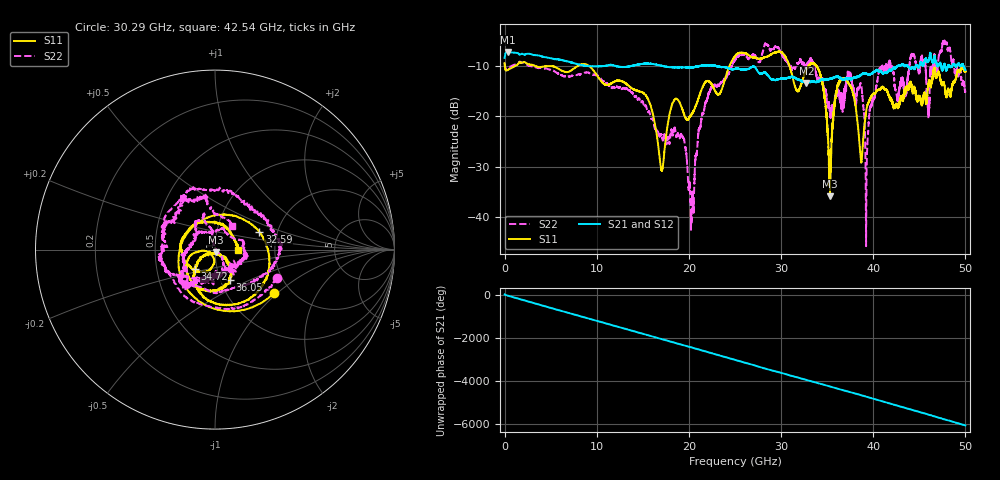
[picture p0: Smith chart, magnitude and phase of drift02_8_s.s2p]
!Created with skrf (http://scikit-rf.org).
# Hz S RI R 50.0
!freq ReS11 ImS11 ReS21 ImS21 ReS12 ImS12 ReS22 ImS22
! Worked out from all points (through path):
!   10001 points, 300 kHz to 50 GHz, reference 50 ohm
!   highest |S21| = -7.31 dB at 325.3 MHz (marker M1); lowest = -13.5 dB at 32.75 GHz (marker M2)
!   group delay of S21, straight-line fit = 335 ps
!   lowest |S11| = -35.9 dB at 35.31 GHz (marker M3), VSWR 1.03, Z = 50.3 - j1.59 ohm
!   |S11| at or under -10 dB: 3.237 GHz to 8.018 GHz (4.781 GHz wide, 85 % of centre); 9.102 GHz to 24.41 GHz (15.31 GHz wide, 91.4 % of centre); 33.83 GHz to end of sweep (the widest 3 of 7)
!   |S22| runs from -45.8 to -5.0 dB; largest |S21 - S12| = 0.014
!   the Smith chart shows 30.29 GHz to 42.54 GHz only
!   S11 on the Smith chart (normalised r, x): 30.29 GHz: 1.65, -0.95; 32.59 GHz: 1.61, +0.34; 34.72 GHz: 0.78, -0.17; 36.05 GHz: 1.11, -0.39; 42.54 GHz: 1.29, -0.01
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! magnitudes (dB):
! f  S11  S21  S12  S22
! 300 kHz  -9.5  -8.5  -8.4  -9.5
! 325.3 MHz  -10.9  -7.3  -7.3  -10.6
! 8.335 GHz  -9.7  -9.9  -9.9  -11.6
! 16.67 GHz  -25.9  -9.9  -9.9  -23.3
! 19.33 GHz  -18.8  -10.4  -10.4  -24.1
! 20.34 GHz  -19.5  -10.3  -10.4  -36.9
! 21.94 GHz  -13.1  -10.0  -10.0  -16.8
! 25 GHz  -8.1  -10.6  -10.7  -8.9
! 30.29 GHz  -7.8  -12.5  -12.7  -8.4
! 32.59 GHz  -11.5  -13.2  -13.3  -10.0
! 32.75 GHz  -10.8  -13.5  -13.5  -10.1
! 33.34 GHz  -9.5  -13.2  -13.2  -9.0
! 34.72 GHz  -16.1  -12.7  -12.7  -14.7
! 35.31 GHz  -35.9  -12.6  -12.5  -19.1
! 36.05 GHz  -14.5  -12.2  -12.1  -16.0
! 37.59 GHz  -14.2  -12.7  -12.7  -12.6
! 38.58 GHz  -27.0  -12.0  -12.0  -13.7
! 39.3 GHz  -18.3  -11.7  -11.7  -29.0
! 41.67 GHz  -15.9  -10.9  -11.0  -9.8
! 42.54 GHz  -17.8  -10.2  -10.2  -15.7
! 47.75 GHz  -14.0  -9.6  -9.7  -5.3
! 50 GHz  -11.2  -10.9  -10.8  -15.1
